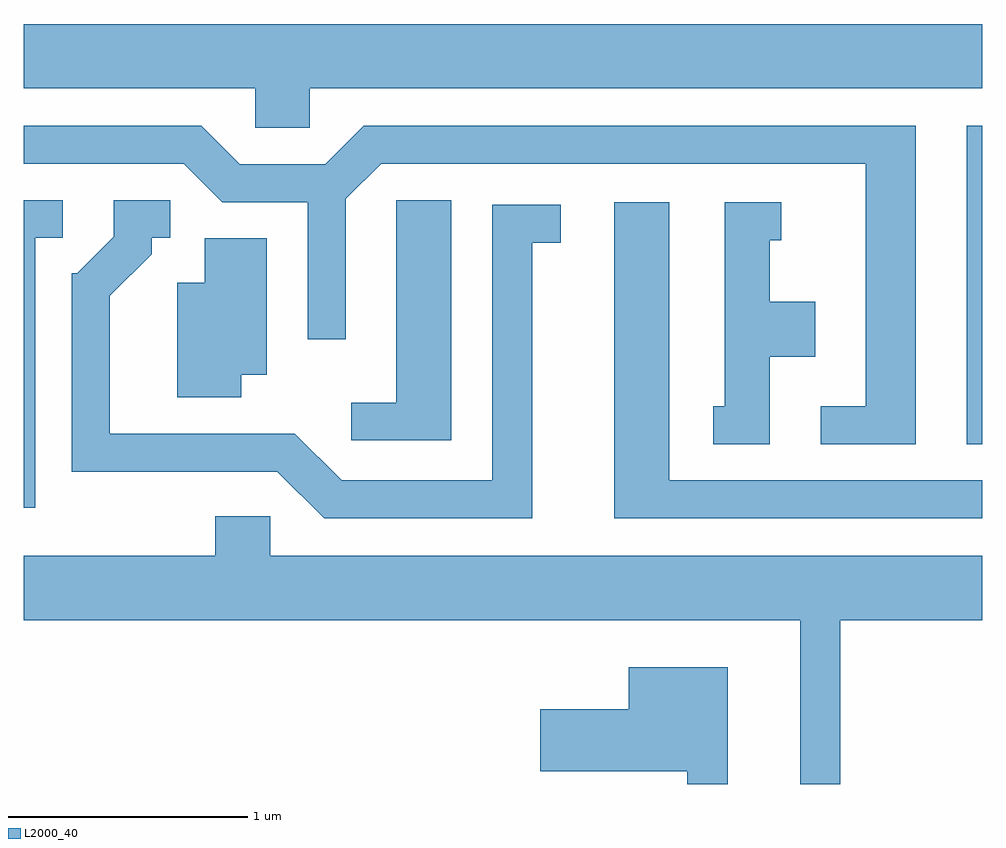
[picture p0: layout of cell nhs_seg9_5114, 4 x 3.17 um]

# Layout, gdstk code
import gdstk
lib = gdstk.Library(unit=1e-6, precision=1e-09)
def R(c, l, rs):  # rectangles x0, y0, x1, y1
    for r in rs: c.add(gdstk.rectangle(r[:2], r[2:], *l))
def P(c, l, *ps):  # polygons
    for p in ps: c.add(gdstk.Polygon(p, *l))
L2000_40 = (2000, 40)

nhs_seg9_5114 = lib.new_cell('nhs_seg9_5114')
R(nhs_seg9_5114, L2000_40, [(339.546,2025.851,339.611,2027.179)])
P(nhs_seg9_5114, L2000_40, [(336.804,2027.336),(339.611,2027.336),(339.611,2027.604),(335.611,2027.604),(335.611,2027.336),(336.576,2027.336),(336.576,2027.171),(336.804,2027.171)],
  [(339.334,2027.179),(337.029,2027.179),(336.869,2027.019),(336.512,2027.019),(336.352,2027.179),(335.611,2027.179),(335.611,2027.021),(336.279,2027.021),(336.439,2026.861),(336.796,2026.861),(336.796,2026.288),(336.954,2026.288),(336.954,2026.874),(337.102,2027.021),(339.126,2027.021),(339.126,2026.009),(338.938,2026.009),(338.938,2025.851),(339.334,2025.851)],
  [(335.659,2026.711),(335.773,2026.711),(335.773,2026.869),(335.611,2026.869),(335.611,2025.586),(335.659,2025.586)],
  [(337.734,2026.691),(337.853,2026.691),(337.853,2026.849),(337.566,2026.849),(337.566,2025.699),(336.937,2025.699),(336.742,2025.894),(335.969,2025.894),(335.969,2026.469),(336.144,2026.644),(336.144,2026.711),(336.223,2026.711),(336.223,2026.869),(335.986,2026.869),(335.986,2026.717),(335.834,2026.564),(335.811,2026.564),(335.811,2025.736),(336.669,2025.736),(336.864,2025.541),(337.734,2025.541)],
  [(337.394,2026.869),(337.166,2026.869),(337.166,2026.024),(336.978,2026.024),(336.978,2025.866),(337.394,2025.866)],
  [(339.611,2025.699),(338.304,2025.699),(338.304,2026.859),(338.076,2026.859),(338.076,2025.541),(339.611,2025.541)],
  [(338.724,2026.216),(338.914,2026.216),(338.914,2026.444),(338.724,2026.444),(338.724,2026.701),(338.773,2026.701),(338.773,2026.859),(338.536,2026.859),(338.536,2026.009),(338.488,2026.009),(338.488,2025.851),(338.724,2025.851)],
  [(336.519,2026.141),(336.624,2026.141),(336.624,2026.709),(336.366,2026.709),(336.366,2026.524),(336.251,2026.524),(336.251,2026.046),(336.519,2026.046)],
  [(339.019,2025.116),(339.611,2025.116),(339.611,2025.384),(336.639,2025.384),(336.639,2025.549),(336.411,2025.549),(336.411,2025.384),(335.611,2025.384),(335.611,2025.116),(338.851,2025.116),(338.851,2024.432),(339.019,2024.432)],
  [(338.549,2024.919),(338.136,2024.919),(338.136,2024.744),(337.766,2024.744),(337.766,2024.486),(338.381,2024.486),(338.381,2024.432),(338.549,2024.432)])

lib.write_gds('nhs_seg9_5114.gds')
